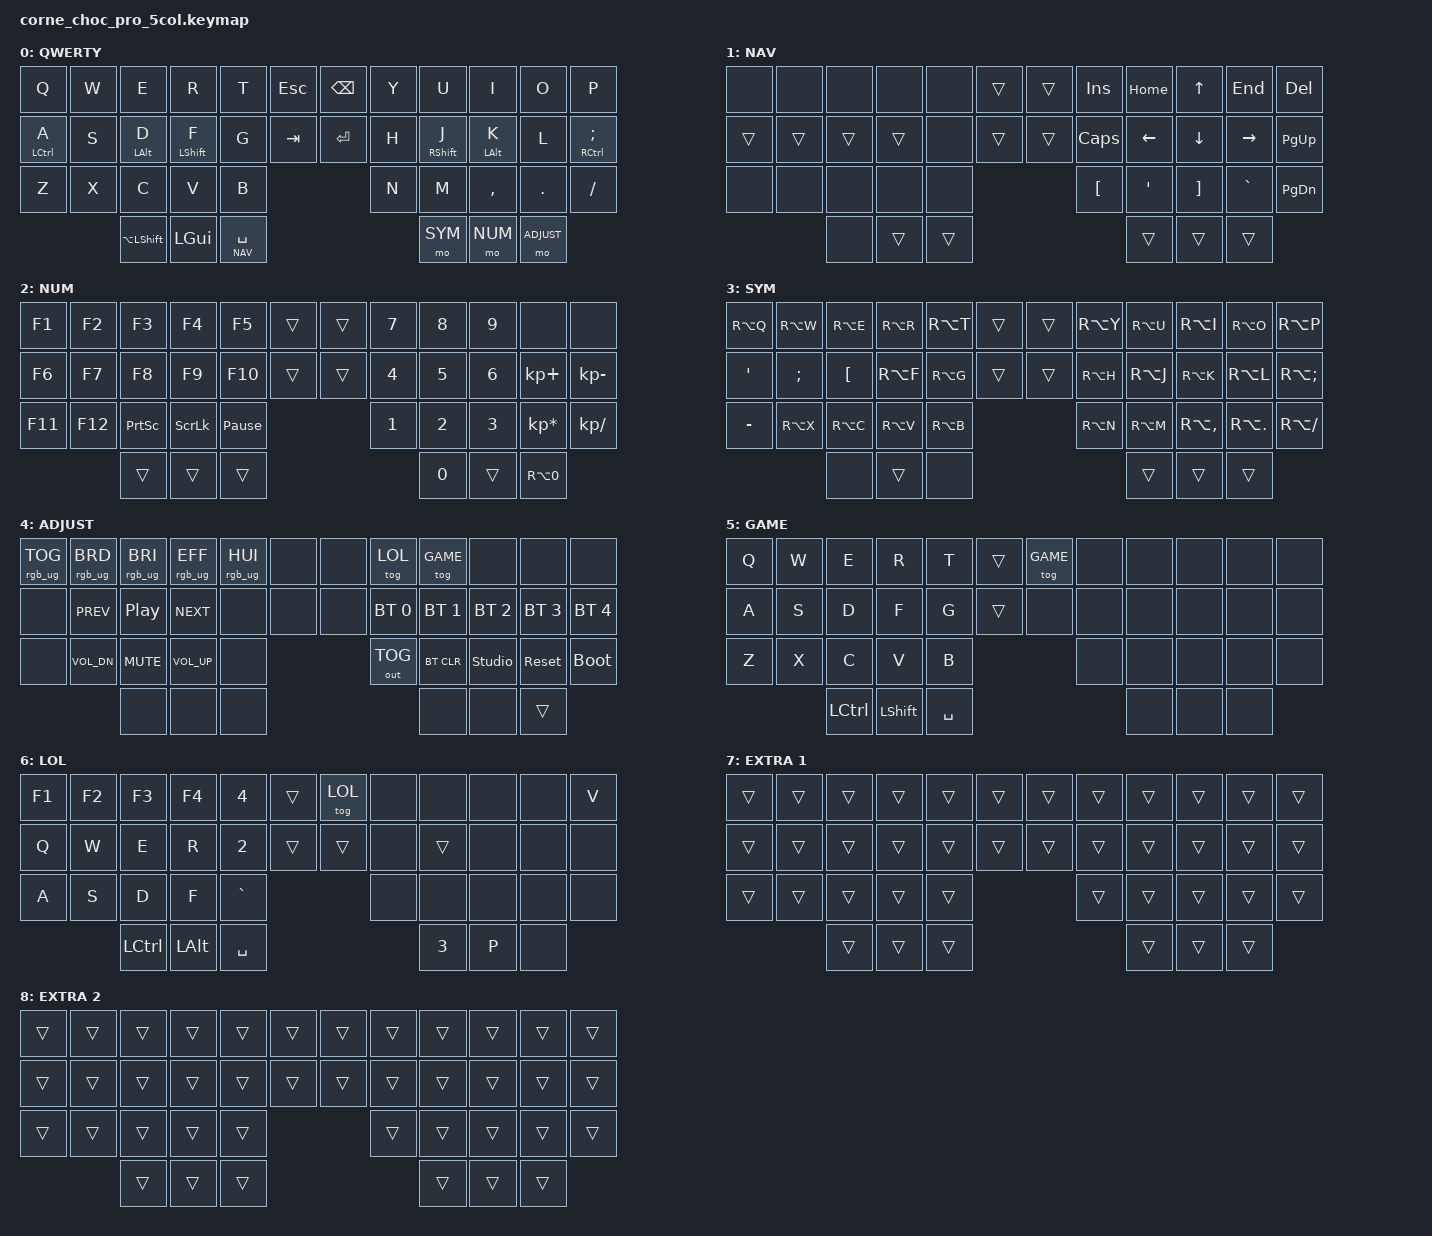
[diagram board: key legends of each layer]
/*
 * Copyright (c) 2020 The ZMK Contributors
 *
 * SPDX-License-Identifier: MIT
 */

#include <behaviors.dtsi>
#include <dt-bindings/zmk/keys.h>
#include <dt-bindings/zmk/bt.h>
#include <dt-bindings/zmk/rgb.h>
#include <dt-bindings/zmk/outputs.h>

#define BASE 0
#define NAV 1
#define NUM 2
#define SYM 3
#define ADJUST 4
#define GAME 5
#define LOL 6

/*
 * Physical layout of one half (see layout.md):
 *   5 columns x 3 rows, two centre keys (top, bottom) and three thumb keys.
 * Rows below are written as: left 5, left centre, right centre, right 5.
 *
 * Keycodes are positions on a German keyboard layout: Y and Z are swapped, SQT = Ä, SEMI = Ö,
 * LBKT = Ü, MINUS = ß, FSLH = "-", RBKT = "+", BSLH = "#", NON_US_BSLH = "<", RA() = AltGr.
 * The symbols of the SYM layer (and the "=" on NUM) are AltGr + key and need the two "Recto
 * symbols" Windows layouts from windows-layouts/ (German and Russian), where that plane is shared.
 */

/*
 * Space / NAV on one key: balanced, so NAV switches on the moment another key is tapped
 * while Space is held (arrow keys), and a fast roll "space, letter" still types a space.
 */
&lt {
    flavor = "balanced";
    tapping-term-ms = <200>;
    quick-tap-ms = <150>;
};

/ {
    chosen {
        zmk,physical-layout = &five_col_layout;
    };

    behaviors {
        /*
         * Home row mods (left hand only). Balanced: a key tapped and released while the
         * mod is still held (Ctrl+C, Shift+E, Ctrl+Right) makes it a modifier at once, no
         * waiting. A roll (the next key is still down when this one is released) stays a letter.
         * require-prior-idle-ms: right after another key it is always a letter, so fast
         * typing never fires a modifier. quick-tap-ms: tap then hold repeats the letter.
         */
        hrm: homerow_mods {
            compatible = "zmk,behavior-hold-tap";
            #binding-cells = <2>;
            flavor = "balanced";
            tapping-term-ms = <250>;
            quick-tap-ms = <175>;
            require-prior-idle-ms = <150>;
            bindings = <&kp>, <&kp>;
        };
    };

    keymap {
        compatible = "zmk,keymap";

        default_layer {
            display-name = "QWERTY";
            // Home row mods follow the order of a regular keyboard:
            //   left:  Ctrl . Alt Shift (A D F)    right: Shift Alt . Ctrl (J K ;), mirrored.
            //   Right Alt is LALT, not RALT: RALT is AltGr on a German layout.
            // Win: middle left thumb (Win+Shift+S: Win thumb, Shift F, S ring finger; all left hand).
            // Esc: above Tab (left centre keys). Left Alt (D) + Shift (F) held together switch the Windows language.
            bindings = <
                &kp Q            &kp W            &kp E            &kp R             &kp T &kp ESC  &kp BSPC &kp Y &kp U            &kp I            &kp O            &kp P
                &hrm LCTRL A     &kp S            &hrm LALT D      &hrm LSHFT F      &kp G &kp TAB   &kp RET &kp H &hrm RSHFT J       &hrm LALT K      &kp L            &hrm RCTRL SEMI
                &kp Z            &kp X            &kp C            &kp V             &kp B                &kp N &kp M             &kp COMMA        &kp DOT          &kp FSLH
                                                         &kp LA(LSHFT) &kp LGUI &lt NAV SPACE                         &mo SYM &mo NUM &mo ADJUST
            >;
        };

        nav_layer {
            display-name = "NAV";
            // Arrows as an inverted T on the right half; Ctrl/Alt/Shift on the left are
            // transparent, and so are the four centre keys (Tab, Win, Backspace, Enter).
            // Bottom row right: LBKT, SQT, RBKT = Х, Э, Ъ on the Russian layout (Ü, Ä, + on the German one).
            bindings = <
                &none      &none      &none      &none      &none &trans &trans &kp INS  &kp HOME &kp UP    &kp END   &kp DEL
                &trans     &trans     &trans     &trans     &none &trans &trans &kp CAPS &kp LEFT &kp DOWN  &kp RIGHT &kp PG_UP
                &none      &none      &none      &none      &none             &kp LBKT &kp SQT  &kp RBKT  &kp GRAVE  &kp PG_DN
                                                &none &trans &trans          &trans &trans &trans
            >;
        };

        num_layer {
            display-name = "NUM";
            // Left: F1-F12 in reading order, then PrtSc, ScrLk, Pause.
            // Right: numpad block, "0" on the big inner thumb and "=" on the outer one (the
            // middle thumb is the NUM key itself, held). Operators to the right of the digits, from
            // the bottom up: * and / (bottom row), + and - (middle row). They are keypad keys, so
            // they type the same sign in the German and the Russian layout and ignore Shift.
            bindings = <
                &kp F1  &kp F2  &kp F3    &kp F4   &kp F5            &trans &trans   &kp N7 &kp N8 &kp N9 &none &none
                &kp F6  &kp F7  &kp F8    &kp F9   &kp F10           &trans &trans   &kp N4 &kp N5 &kp N6 &kp KP_PLUS &kp KP_MINUS
                &kp F11 &kp F12 &kp PSCRN &kp SLCK &kp PAUSE_BREAK                   &kp N1 &kp N2 &kp N3 &kp KP_ASTERISK &kp KP_SLASH
                                          &trans &trans &trans                       &kp N0 &trans &kp RA(N0)
            >;
        };

        sym_layer {
            display-name = "SYM";
            // Every sign is AltGr + key on a plane that is the SAME in the German and in the Russian
            // Windows layout (the "Recto symbols" layouts in windows-layouts/, see AGENTS-style notes
            // in layout.md), so the signs print the same in both languages. The AltGr key of a sign is
            // the BASE key at the same position: RA(Q) sits where Q is on BASE, and so on.
            // Brackets sit in the two inner columns of the left half, next to the centre keys. The
            // closer to the thumb, the more often they are used: { } bottom, [ ] middle, ( ) top;
            // < > bottom row, left of the curly pair.
            //   left:   ! ? ~ ( )    Ä Ö Ü [ ]    ß < > { }        centre: Tab, Win (transparent)
            //   (Ä Ö Ü and ß are plain keys: SQT = Ä, SEMI = Ö, LBKT = Ü, MINUS = ß on the German layout,
            //    Э Ж Х and "-" on the Russian one; capitals: hold Shift first, then SYM)
            //   (: ; _ are Shift + . , - on BASE, so they are not repeated here)
            //   right:  + EUR * / %    & | ^ \ @    ' " ` $ #
            bindings = <
                &kp RA(Q)   &kp RA(W)     &kp RA(E)     &kp RA(R)  &kp RA(T)   &trans    &trans &kp RA(Y)     &kp RA(U)           &kp RA(I)    &kp RA(O)   &kp RA(P)
                &kp SQT     &kp SEMI      &kp LBKT      &kp RA(F)  &kp RA(G)   &trans    &trans &kp RA(H)     &kp RA(J)           &kp RA(K)    &kp RA(L)   &kp RA(SEMI)
                &kp MINUS   &kp RA(X)     &kp RA(C)     &kp RA(V)  &kp RA(B)                    &kp RA(N)     &kp RA(M)           &kp RA(COMMA) &kp RA(DOT) &kp RA(FSLH)
                                                  &none &trans &none                           &trans &trans &trans
            >;
        };

        adjust_layer {
            display-name = "ADJUST";
            // Left half: media in a plus around Play (middle finger): Prev and Next on its sides,
            // Vol-, Mute, Vol+ under it; RGB on the top row.
            // Right half: top row game layers (Lol, GAME; free slots for other games), middle row
            // Bluetooth profiles 1-5, bottom row the technical keys, from the centre outwards, by
            // topic: connection (USB/BT switch, Bluetooth clear), Studio unlock, then the drastic
            // ones (reset, bootloader).
            bindings = <
                &rgb_ug RGB_TOG &rgb_ug RGB_BRD &rgb_ug RGB_BRI &rgb_ug RGB_EFF &rgb_ug RGB_HUI &none &none &tog LOL &tog GAME &none &none &none
                &none        &kp C_PREV   &kp C_PP     &kp C_NEXT   &none        &none &none &bt BT_SEL 0 &bt BT_SEL 1 &bt BT_SEL 2 &bt BT_SEL 3 &bt BT_SEL 4
                &none        &kp C_VOL_DN &kp C_MUTE   &kp C_VOL_UP &none                   &out OUT_TOG &bt BT_CLR &studio_unlock &sys_reset &bootloader
                                                      &none &none &none                             &none &none &trans
            >;
        };

        game_layer {
            display-name = "GAME";
            // Any game: plain QWERTY on the left half, no hold-taps. Tab and Esc (the two left
            // centre keys) show through from BASE. Right half is off, except the top centre key
            // that leaves the layer.
            bindings = <
                &kp Q &kp W &kp E &kp R &kp T &trans   &tog GAME &none &none &none &none &none
                &kp A &kp S &kp D &kp F &kp G &trans   &none     &none &none &none &none &none
                &kp Z &kp X &kp C &kp V &kp B                   &none &none &none &none &none
                          &kp LCTRL &kp LSHFT &kp SPACE         &none &none &none
            >;
        };

        lol_layer {
            display-name = "LOL";
            // F1-F4 select the four allies (rebind them in the game; the camera on yourself is Space), 4 and 2 are item slots, Q W E R are the abilities.
            // GRAVE (the key left of 1, ^ on the German layout; "Attack only champions") is under the 2. Tab and Esc (the two left centre keys) show through from BASE.
            // The mouse hand reaches the top right corner: V (ward, the support key) alone in the corner.
            // Item 3 sits on the right big thumb key, P (the shop) on the middle right thumb key. The top centre key on the right leaves the layer.
            bindings = <
                &kp F1 &kp F2 &kp F3 &kp F4 &kp N4 &trans   &tog LOL &none &none &none &none &kp V
                &kp Q  &kp W  &kp E  &kp R  &kp N2 &trans   &trans   &none &trans &none &none &none
                &kp A  &kp S  &kp D  &kp F  &kp GRAVE               &none &none &none &none &none
                         &kp LCTRL &kp LALT &kp SPACE               &kp N3 &kp P &none
            >;
        };

        extra_layer_1 {
            display-name = "EXTRA 1";
            bindings = <
                &trans &trans &trans &trans &trans &trans &trans &trans &trans &trans &trans &trans
                &trans &trans &trans &trans &trans &trans &trans &trans &trans &trans &trans &trans
                &trans &trans &trans &trans &trans               &trans &trans &trans &trans &trans
                              &trans &trans &trans               &trans &trans &trans
            >;
        };

        extra_layer_2 {
            display-name = "EXTRA 2";
            bindings = <
                &trans &trans &trans &trans &trans &trans &trans &trans &trans &trans &trans &trans
                &trans &trans &trans &trans &trans &trans &trans &trans &trans &trans &trans &trans
                &trans &trans &trans &trans &trans               &trans &trans &trans &trans &trans
                              &trans &trans &trans               &trans &trans &trans
            >;
        };
    };
};
